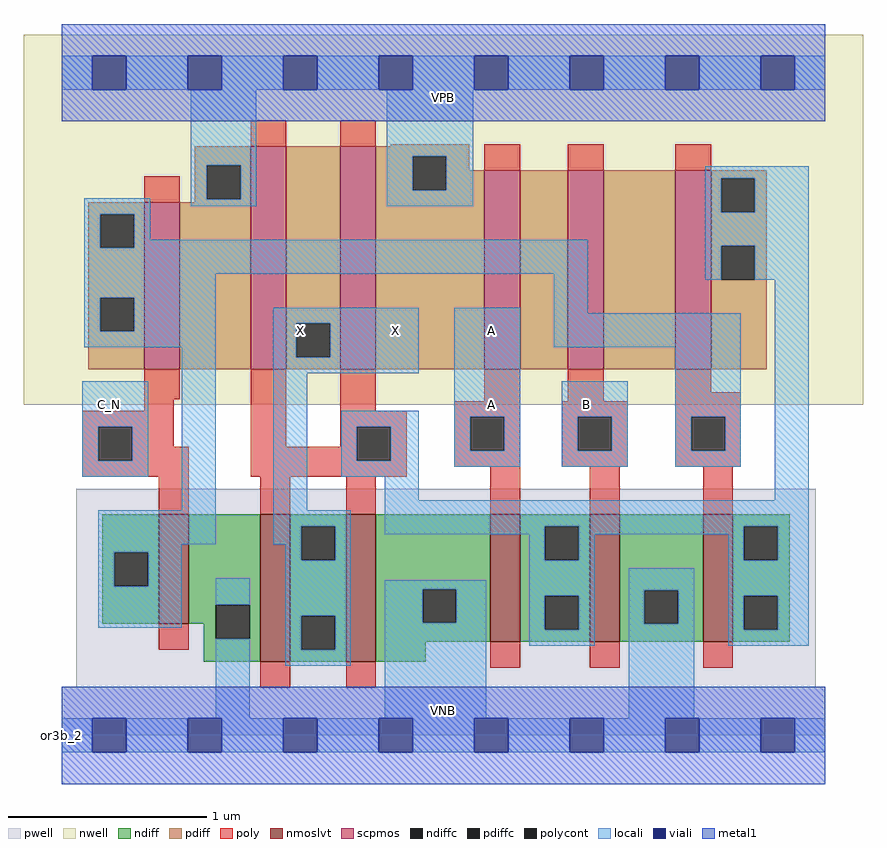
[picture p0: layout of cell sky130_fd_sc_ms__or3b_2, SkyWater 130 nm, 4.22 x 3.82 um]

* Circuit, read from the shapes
.subckt sky130_fd_sc_ms__or3b_2 A B C_N VGND VNB VPB VPWR X
XM1 VGND C_N n1 VNB sky130_fd_pr__nfet_01v8_lvt w=0.55 l=0.15
XM2 X n2 VGND VNB sky130_fd_pr__nfet_01v8_lvt w=0.74 l=0.15 m=2
XM3 n2 A VGND VNB sky130_fd_pr__nfet_01v8_lvt w=0.64 l=0.15
XM4 VGND B n2 VNB sky130_fd_pr__nfet_01v8_lvt w=0.64 l=0.15
XM5 n2 n1 VGND VNB sky130_fd_pr__nfet_01v8_lvt w=0.64 l=0.15
XM6 VPWR C_N n1 VPB sky130_fd_pr__pfet_01v8 w=0.84 l=0.18
XM7 X n2 VPWR VPB sky130_fd_pr__pfet_01v8 w=1.12 l=0.18 m=2
XM8 n3 A VPWR VPB sky130_fd_pr__pfet_01v8 w=1 l=0.18
XM9 n4 B n3 VPB sky130_fd_pr__pfet_01v8 w=1 l=0.18
XM10 n2 n1 n4 VPB sky130_fd_pr__pfet_01v8 w=1 l=0.18
.ends

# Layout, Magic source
magic
tech sky130A
magscale 1 2
<< nwell >>
rect -38 332 806 704
<< pwell >>
rect 15 49 758 248
rect 0 0 768 49
<< scpmos >>
rect 83 368 119 536
rect 190 368 226 592
rect 280 368 316 592
rect 425 368 461 568
rect 509 368 545 568
rect 617 368 653 568
<< nmoslvt >>
rect 98 112 128 222
rect 200 74 230 222
rect 286 74 316 222
rect 431 94 461 222
rect 531 94 561 222
rect 645 94 675 222
<< ndiff >>
rect 41 184 98 222
rect 41 150 53 184
rect 87 150 98 184
rect 41 112 98 150
rect 128 131 200 222
rect 128 112 155 131
rect 143 97 155 112
rect 189 97 200 131
rect 143 74 200 97
rect 230 210 286 222
rect 230 176 241 210
rect 275 176 286 210
rect 230 120 286 176
rect 230 86 241 120
rect 275 86 286 120
rect 230 74 286 86
rect 316 147 431 222
rect 316 113 363 147
rect 397 113 431 147
rect 316 94 431 113
rect 461 210 531 222
rect 461 176 486 210
rect 520 176 531 210
rect 461 140 531 176
rect 461 106 486 140
rect 520 106 531 140
rect 461 94 531 106
rect 561 146 645 222
rect 561 112 586 146
rect 620 112 645 146
rect 561 94 645 112
rect 675 210 732 222
rect 675 176 686 210
rect 720 176 732 210
rect 675 140 732 176
rect 675 106 686 140
rect 720 106 732 140
rect 675 94 732 106
rect 316 74 366 94
<< pdiff >>
rect 331 592 410 594
rect 134 573 190 592
rect 134 539 146 573
rect 180 539 190 573
rect 134 536 190 539
rect 27 524 83 536
rect 27 490 39 524
rect 73 490 83 524
rect 27 440 83 490
rect 27 406 39 440
rect 73 406 83 440
rect 27 368 83 406
rect 119 368 190 536
rect 226 414 280 592
rect 226 380 236 414
rect 270 380 280 414
rect 226 368 280 380
rect 316 582 410 592
rect 316 548 353 582
rect 387 568 410 582
rect 387 548 425 568
rect 316 368 425 548
rect 461 368 509 568
rect 545 368 617 568
rect 653 560 709 568
rect 653 526 663 560
rect 697 526 709 560
rect 653 492 709 526
rect 653 458 663 492
rect 697 458 709 492
rect 653 368 709 458
<< ndiffc >>
rect 53 150 87 184
rect 155 97 189 131
rect 241 176 275 210
rect 241 86 275 120
rect 363 113 397 147
rect 486 176 520 210
rect 486 106 520 140
rect 586 112 620 146
rect 686 176 720 210
rect 686 106 720 140
<< pdiffc >>
rect 146 539 180 573
rect 39 490 73 524
rect 39 406 73 440
rect 236 380 270 414
rect 353 548 387 582
rect 663 526 697 560
rect 663 458 697 492
<< poly >>
rect 190 592 226 618
rect 280 592 316 618
rect 83 536 119 562
rect 425 568 461 594
rect 509 568 545 594
rect 617 568 653 594
rect 83 338 119 368
rect 83 326 113 338
rect 21 310 113 326
rect 21 276 37 310
rect 71 290 113 310
rect 190 290 226 368
rect 280 326 316 368
rect 425 336 461 368
rect 509 336 545 368
rect 617 345 653 368
rect 280 310 347 326
rect 280 290 297 310
rect 71 276 128 290
rect 21 260 128 276
rect 190 276 297 290
rect 331 276 347 310
rect 190 260 347 276
rect 395 320 461 336
rect 395 286 411 320
rect 445 286 461 320
rect 395 270 461 286
rect 503 320 569 336
rect 503 286 519 320
rect 553 286 569 320
rect 503 270 569 286
rect 617 320 683 345
rect 617 286 633 320
rect 667 286 683 320
rect 617 270 683 286
rect 98 222 128 260
rect 200 222 230 260
rect 286 222 316 260
rect 431 222 461 270
rect 531 222 561 270
rect 645 222 675 270
rect 98 86 128 112
rect 200 48 230 74
rect 286 48 316 74
rect 431 68 461 94
rect 531 68 561 94
rect 645 68 675 94
<< polycont >>
rect 37 276 71 310
rect 297 276 331 310
rect 411 286 445 320
rect 519 286 553 320
rect 633 286 667 320
<< locali >>
rect 0 649 31 683
rect 65 649 127 683
rect 161 649 223 683
rect 257 649 319 683
rect 353 649 415 683
rect 449 649 511 683
rect 545 649 607 683
rect 641 649 703 683
rect 737 649 768 683
rect 130 573 196 649
rect 23 524 89 540
rect 130 539 146 573
rect 180 539 196 573
rect 130 532 196 539
rect 327 582 414 649
rect 327 548 353 582
rect 387 548 414 582
rect 327 532 414 548
rect 647 560 751 572
rect 23 490 39 524
rect 73 498 89 524
rect 647 526 663 560
rect 697 526 751 560
rect 73 490 529 498
rect 23 464 529 490
rect 23 440 155 464
rect 23 406 39 440
rect 73 406 155 440
rect 23 390 155 406
rect 21 310 87 356
rect 21 276 37 310
rect 71 276 87 310
rect 21 260 87 276
rect 121 226 155 390
rect 37 192 155 226
rect 213 414 359 430
rect 213 380 236 414
rect 270 380 359 414
rect 213 364 359 380
rect 213 226 247 364
rect 281 310 359 326
rect 281 276 297 310
rect 331 276 359 310
rect 281 260 359 276
rect 395 320 461 430
rect 495 424 529 464
rect 647 492 751 526
rect 647 458 663 492
rect 697 458 751 492
rect 495 390 683 424
rect 395 286 411 320
rect 445 286 461 320
rect 395 270 461 286
rect 503 320 569 356
rect 503 286 519 320
rect 553 286 569 320
rect 503 270 569 286
rect 617 320 683 390
rect 617 286 633 320
rect 667 286 683 320
rect 617 270 683 286
rect 325 236 359 260
rect 717 236 751 458
rect 213 210 291 226
rect 213 192 241 210
rect 37 184 121 192
rect 37 150 53 184
rect 87 150 121 184
rect 225 176 241 192
rect 275 176 291 210
rect 325 210 751 236
rect 325 202 486 210
rect 37 108 121 150
rect 155 131 189 158
rect 155 17 189 97
rect 225 120 291 176
rect 470 176 486 202
rect 520 202 686 210
rect 520 176 536 202
rect 225 86 241 120
rect 275 86 291 120
rect 225 70 291 86
rect 325 147 427 156
rect 325 113 363 147
rect 397 113 427 147
rect 325 17 427 113
rect 470 140 536 176
rect 670 176 686 202
rect 720 176 751 210
rect 470 106 486 140
rect 520 106 536 140
rect 470 90 536 106
rect 570 146 636 168
rect 570 112 586 146
rect 620 112 636 146
rect 570 17 636 112
rect 670 140 751 176
rect 670 106 686 140
rect 720 106 751 140
rect 670 90 751 106
rect 0 -17 31 17
rect 65 -17 127 17
rect 161 -17 223 17
rect 257 -17 319 17
rect 353 -17 415 17
rect 449 -17 511 17
rect 545 -17 607 17
rect 641 -17 703 17
rect 737 -17 768 17
<< viali >>
rect 31 649 65 683
rect 127 649 161 683
rect 223 649 257 683
rect 319 649 353 683
rect 415 649 449 683
rect 511 649 545 683
rect 607 649 641 683
rect 703 649 737 683
rect 31 -17 65 17
rect 127 -17 161 17
rect 223 -17 257 17
rect 319 -17 353 17
rect 415 -17 449 17
rect 511 -17 545 17
rect 607 -17 641 17
rect 703 -17 737 17
<< metal1 >>
rect 0 683 768 715
rect 0 649 31 683
rect 65 649 127 683
rect 161 649 223 683
rect 257 649 319 683
rect 353 649 415 683
rect 449 649 511 683
rect 545 649 607 683
rect 641 649 703 683
rect 737 649 768 683
rect 0 617 768 649
rect 0 17 768 49
rect 0 -17 31 17
rect 65 -17 127 17
rect 161 -17 223 17
rect 257 -17 319 17
rect 353 -17 415 17
rect 449 -17 511 17
rect 545 -17 607 17
rect 641 -17 703 17
rect 737 -17 768 17
rect 0 -49 768 -17
<< labels >>
flabel pwell s 0 0 768 49 0 FreeSans 200 0 0 0 VNB
port 5 nsew ground bidirectional
flabel nwell s 0 617 768 666 0 FreeSans 200 0 0 0 VPB
port 6 nsew power bidirectional
rlabel comment s 0 0 0 0 4 or3b_2
flabel metal1 s 0 617 768 666 0 FreeSans 340 0 0 0 VPWR
port 7 nsew power bidirectional
flabel metal1 s 0 0 768 49 0 FreeSans 340 0 0 0 VGND
port 4 nsew ground bidirectional
flabel locali s 223 390 257 424 0 FreeSans 340 0 0 0 X
port 8 nsew signal output
flabel locali s 319 390 353 424 0 FreeSans 340 0 0 0 X
port 8 nsew signal output
flabel locali s 415 316 449 350 0 FreeSans 340 0 0 0 A
port 1 nsew signal input
flabel locali s 415 390 449 424 0 FreeSans 340 0 0 0 A
port 1 nsew signal input
flabel locali s 511 316 545 350 0 FreeSans 340 0 0 0 B
port 2 nsew signal input
flabel locali s 31 316 65 350 0 FreeSans 340 0 0 0 C_N
port 3 nsew signal input
<< properties >>
string LEFsite unit
string LEFclass CORE
string FIXED_BBOX 0 0 768 666
string GDS_FILE $PDKPATH/libs.ref/sky130_fd_sc_ms/gds/sky130_fd_sc_ms.gds
string LEFsymmetry X Y
string GDS_END 602672
string GDS_START 596478
<< end >>
